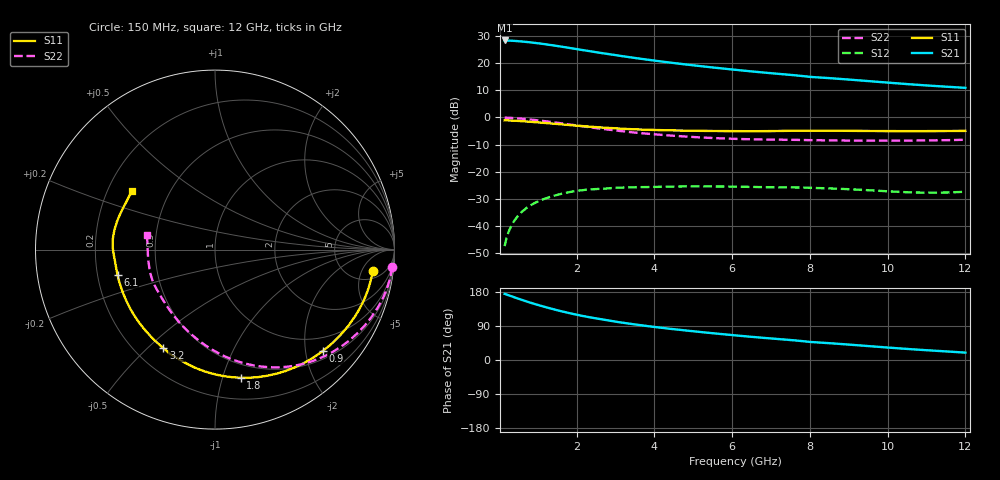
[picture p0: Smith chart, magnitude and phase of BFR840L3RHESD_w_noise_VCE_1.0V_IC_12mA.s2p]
! Infineon Technologies  Discrete & RF Semiconductors
! BFR840L3RHESD
! VCE =  1.0 V,  IC =  12 mA
! Common Emitter S-Parameters:  Jun 2012
# GHz  S  MA  R  50
!  f  S11  S21  S12  S22
! GHz  MAG  ANG  MAG  ANG  MAG  ANG  MAG  ANG
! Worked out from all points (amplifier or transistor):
!   91 points, 150 MHz to 12 GHz, reference 50 ohm
!   highest |S21| = 28.3 dB at 150 MHz (marker M1)
!   |S21| within 3 dB of that: start of sweep to 1.928 GHz
!   unconditionally stable (mu >= 1): 8.025 GHz to end of sweep
!   at 1.3 GHz: K = 0.14, MSG = 28.0 dB, |S12| = -29.3 dB
!   at 4.3 GHz: K = 0.47, MSG = 22.9 dB, |S12| = -25.4 dB
!   at 12 GHz: K = 1.98, MAG = 13.5 dB, |S12| = -27.3 dB
!   lowest NFmin = 0.78 dB at 450 MHz
!   S11 on the Smith chart (normalised r, x): 150 MHz: 7, -8; 900 MHz: 0.66, -2.35; 1.8 GHz: 0.38, -1.15; 3.2 GHz: 0.31, -0.56; 6.1 GHz: 0.29, -0.12; 12 GHz: 0.30, +0.29
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0.15  0.8867 -7.8  26.11 174.6  0.0043 85.8  0.9911 -5.7
0.3  0.8804 -15.4  25.89 169.1  0.0094 81.5  0.9837 -12.0
0.45  0.8695 -22.7  25.47 163.7  0.0142 75.8  0.9686 -17.8
0.7  0.8456 -34.4  24.55 155.0  0.0213 68.3  0.9346 -27.1
0.9  0.8245 -43.4  23.68 148.5  0.0262 63.4  0.9035 -34.1
1.1  0.8031 -51.9  22.72 142.5  0.0305 59.0  0.8704 -40.7
1.3  0.7816 -60.1  21.7 136.8  0.0343 54.7  0.8359 -47.0
1.6  0.7494 -71.5  20.14 128.9  0.0393 48.7  0.7827 -55.8
1.8  0.7285 -78.6  19.12 124.1  0.0422 45.3  0.7476 -61.3
2.2  0.6904 -91.6  17.2 115.4  0.0465 39.4  0.6817 -71.3
2.4  0.6736 -97.4  16.31 111.6  0.0478 36.8  0.6523 -75.8
2.7  0.6507 -105.3  15.11 106.4  0.0491 32.7  0.6129 -82.1
3.2  0.62 -117.6  13.35 98.2  0.0515 28.0  0.5561 -91.9
3.6  0.6022 -126.1  12.17 92.5  0.0523 24.9  0.5201 -98.9
4.2  0.585 -137.3  10.68 84.8  0.0532 21.4  0.4784 -108.6
5.1  0.5687 -151.9  8.944 74.8  0.0541 16.8  0.4335 -122.0
6.1  0.561 -165.2  7.516 64.8  0.0534 13.4  0.4041 -135.5
6.8  0.5609 -173.2  6.724 58.5  0.0525 12.1  0.3939 -144.3
8  0.5722 172.7  5.586 47.7  0.0509 9.4  0.3831 -160.3
8.5  0.5708 168.6  5.296 44.4  0.0497 8.6  0.3796 -164.7
10.5  0.5613 152.8  4.116 29.2  0.0422 12.2  0.3761 177.6
12  0.567 144.8  3.511 19.5  0.043 23.0  0.3891 168.3
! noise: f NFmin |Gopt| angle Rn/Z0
0.45  0.78  0.25  6  0.16
0.9  0.81  0.25  11  0.16
1.9  0.84  0.27  32  0.15
3.5  0.84  0.27  53  0.14
4  0.86  0.27  62  0.13
5.5  0.88  0.28  77  0.13
7  0.94  0.28  96  0.12
8  1  0.27  107  0.11
10  1.1  0.25  127  0.11
12  1.22  0.25  164  0.11
